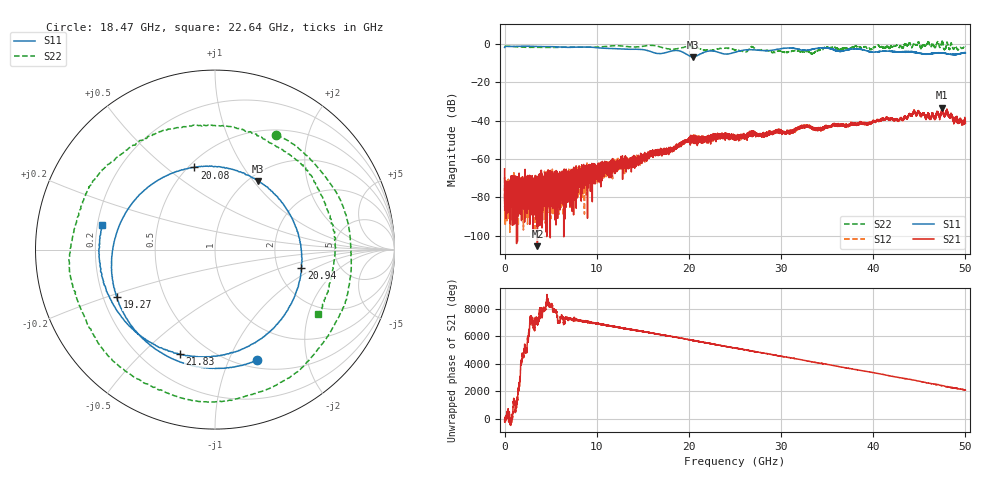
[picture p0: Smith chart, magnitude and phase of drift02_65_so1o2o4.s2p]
!Created with skrf (http://scikit-rf.org).
# Hz S RI R 50.0
!freq ReS11 ImS11 ReS21 ImS21 ReS12 ImS12 ReS22 ImS22
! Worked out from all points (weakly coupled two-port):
!   10001 points, 300 kHz to 50 GHz, reference 50 ohm
!   highest |S21| = -33.32 dB at 47.5 GHz (marker M1); lowest = -105.4 dB at 3.56 GHz (marker M2)
!   lowest |S11| = -6.9 dB at 20.41 GHz (marker M3), VSWR 2.64, Z = 55.1 + j52.8 ohm
!   |S11| at or under -10 dB: nowhere
!   |S22| runs from -5.3 to 1.6 dB; largest |S21 - S12| = 0.0029
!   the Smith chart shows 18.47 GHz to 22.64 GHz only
!   S11 on the Smith chart (normalised r, x): 18.47 GHz: 0.58, -1.27; 19.27 GHz: 0.26, -0.21; 20.08 GHz: 0.54, +0.63; 20.94 GHz: 2.70, -0.74; 21.83 GHz: 0.35, -0.66; 22.64 GHz: 0.22, +0.10
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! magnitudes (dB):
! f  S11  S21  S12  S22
! 300 kHz  -2.1  -65.1  -69.5  -1.3
! 255.3 MHz  -1.4  -76.7  -92.9  -1.4
! 3.56 GHz  -1.5  -105.4  -82.2  -2.0
! 6.33 GHz  -1.8  -76.3  -71.8  -1.9
! 8.335 GHz  -1.7  -69.1  -69.0  -1.9
! 16.67 GHz  -5.2  -55.8  -56.5  -1.5
! 18.47 GHz  -3.6  -54.9  -54.6  -2.8
! 19.27 GHz  -4.3  -51.9  -52.2  -2.1
! 20.08 GHz  -6.5  -48.6  -48.6  -1.5
! 20.41 GHz  -6.9  -49.2  -51.6  -1.8
! 20.94 GHz  -6.2  -49.1  -50.8  -2.2
! 21.83 GHz  -4.2  -49.3  -49.6  -3.5
! 22.64 GHz  -3.8  -49.1  -49.8  -3.4
! 25 GHz  -4.5  -47.7  -49.0  -3.2
! 26.11 GHz  -3.3  -48.3  -48.5  -4.3
! 26.9 GHz  -3.2  -47.6  -46.1  -1.7
! 33.34 GHz  -3.0  -43.6  -44.2  -5.1
! 34.89 GHz  -2.2  -42.4  -43.6  -2.3
! 41.67 GHz  -3.9  -39.2  -39.0  -2.0
! 44.4 GHz  -4.6  -35.0  -35.4  0.2
! 47.5 GHz  -4.8  -33.3  -34.3  1.4
! 50 GHz  -4.8  -41.5  -40.4  -1.6
